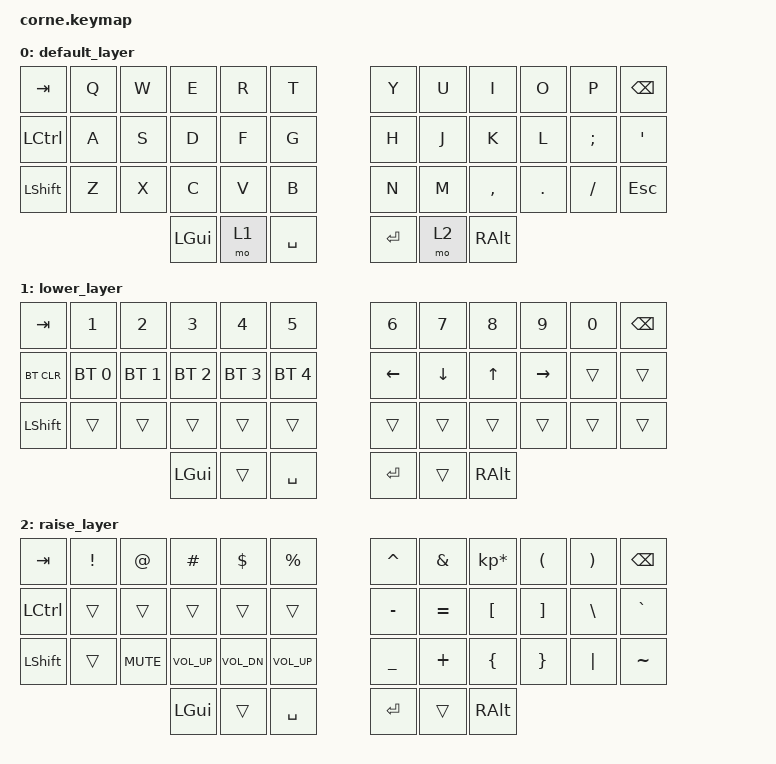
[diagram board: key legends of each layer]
/*
 * Copyright (c) 2020 The ZMK Contributors
 *
 * SPDX-License-Identifier: MIT
 */

#include <behaviors.dtsi>
#include <dt-bindings/zmk/keys.h>
#include <dt-bindings/zmk/bt.h>

#include <dt-bindings/led/led.h>
&spi1 {
  led_strip: ws2812@0 {
    compatible = "worldsemi,ws2812-spi";
    label = "WS2812";

    /* SPI */
    reg = <0>;
    spi-max-frequency = <5250000>;

    /* WS2812 */
    chain-length = <6>; /* number of LEDs */
    spi-one-frame = <0x70>; /* make sure to configure this properly for your SOC */
    spi-zero-frame = <0x40>; /* make sure to configure this properly for your SOC */
    color-mapping = <LED_COLOR_ID_GREEN LED_COLOR_ID_RED LED_COLOR_ID_BLUE>;
  };
};
/ {
	chosen {
		zmk,underglow = &led_strip;
	};
};


/ {
        keymap {
                compatible = "zmk,keymap";

                default_layer {
// -----------------------------------------------------------------------------------------
// |  TAB |  Q  |  W  |  E  |  R  |  T  |   |  Y  |  U   |  I  |  O  |  P  | BKSP |
// | CTRL |  A  |  S  |  D  |  F  |  G  |   |  H  |  J   |  K  |  L  |  ;  |  '   |
// | SHFT |  Z  |  X  |  C  |  V  |  B  |   |  N  |  M   |  ,  |  .  |  /  | ESC  |
//                    | GUI | LWR | SPC |   | ENT | RSE  | ALT |
                        bindings = <
   &kp TAB   &kp Q &kp W &kp E &kp R &kp T   &kp Y &kp U  &kp I     &kp O   &kp P    &kp BSPC
   &kp LCTRL &kp A &kp S &kp D &kp F &kp G   &kp H &kp J  &kp K     &kp L   &kp SEMI &kp SQT
   &kp LSHFT &kp Z &kp X &kp C &kp V &kp B   &kp N &kp M  &kp COMMA &kp DOT &kp FSLH &kp ESC
                  &kp LGUI &mo 1 &kp SPACE   &kp RET &mo 2 &kp RALT
                        >;
                };
                lower_layer {
// -----------------------------------------------------------------------------------------
// |  TAB |  1  |  2  |  3  |  4  |  5  |   |  6  |  7  |  8  |  9  |  0  | BKSP |
// | BTCLR| BT1 | BT2 | BT3 | BT4 | BT5 |   | LFT | DWN |  UP | RGT |     |      |
// | SHFT |     |     |     |     |     |   |     |     |     |     |     |      |
//                    | GUI |     | SPC |   | ENT |     | ALT |
                        bindings = <
   &kp TAB    &kp N1       &kp N2       &kp N3       &kp N4       &kp N5         &kp N6   &kp N7   &kp N8 &kp N9    &kp N0 &kp BSPC
   &bt BT_CLR &bt BT_SEL 0 &bt BT_SEL 1 &bt BT_SEL 2 &bt BT_SEL 3 &bt BT_SEL 4   &kp LEFT &kp DOWN &kp UP &kp RIGHT &trans &trans
   &kp LSHFT  &trans       &trans       &trans       &trans       &trans         &trans   &trans   &trans &trans    &trans &trans
                          	        &kp LGUI     &trans       &kp SPACE      &kp RET  &trans   &kp RALT
                        >;
                };

                raise_layer {
// -----------------------------------------------------------------------------------------
// |  TAB |  !  |  @  |  #  |  $  |  %  |   |  ^  |  &  |  *  |  (  |  )  | BKSP |
// | CTRL |     |     |     |     |     |   |  -  |  =  |  [  |  ]  |  \  |  `   |
// | SHFT |     |     | MUTE| V.DN| V.UP|   |  _  |  +  |  {  |  }  | "|" |  ~   |
//                    | GUI |     | SPC |   | ENT |     | ALT |
                        bindings = <
   &kp  TAB  &kp EXCL &kp AT     &kp HASH     &kp DLLR     &kp PRCNT    &kp CARET &kp AMPS  &kp KP_MULTIPLY &kp LPAR &kp RPAR &kp BSPC
   &kp LCTRL &trans   &trans     &trans       &trans       &trans       &kp MINUS &kp EQUAL &kp LBKT        &kp RBKT &kp BSLH &kp GRAVE
   &kp LSHFT &trans   &kp K_MUTE &kp C_VOL_UP &kp C_VOL_DN &kp C_VOL_UP &kp UNDER &kp PLUS  &kp LBRC        &kp RBRC &kp PIPE &kp TILDE
                    	     &kp LGUI &trans   &kp SPACE   &kp RET   &trans    &kp RALT
                        >;
                };
        };
};
